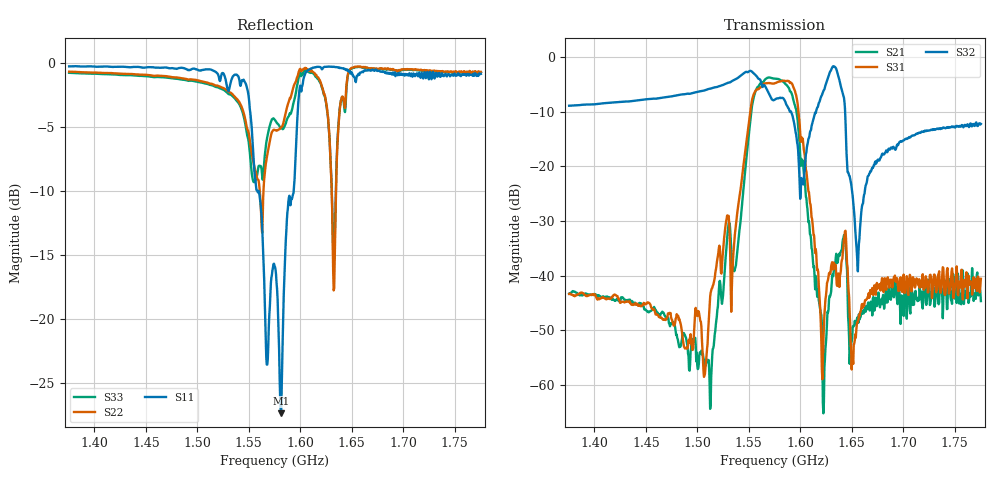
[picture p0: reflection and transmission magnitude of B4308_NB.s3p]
! Matrix data file written by TouchstoneData, EPCOS AG
! FILENAME: "newformat_LY98B_3_P1011407_Pcb01_NB.s3p"
! COMMENT: "(LY98B_3_P1011407_Pcb01_NB.s3p) Epcos AG 9/1"
! INFO: nport=3, nfreq=801
! DATE: "Wed Oct 12 10:00:51 2011"
! USER: "WeiLong Lin"
! port | pin | signal
!  1  |  1  |  in
!  2  |  2  |  out
!  3  |  4  |  out
# MHZ S MA R 50
! freq  magS11 angS11  magS12 angS12  magS13 angS13  ...
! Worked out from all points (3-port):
!   801 points, 1.375 GHz to 1.775 GHz, reference 50 ohm
!   strongest paths, dB at 1.375 GHz, 1.475 GHz, 1.575 GHz, 1.675 GHz, 1.775 GHz:
!     S32: -8.9, -7.1, -7.7, -18.7, -12.2
!     S31: -43.4, -48.1, -4.7, -42.0, -40.6
!     S21: -43.3, -48.6, -3.9, -44.8, -44.7
!   lowest |S11| = -27.4 dB at 1.581 GHz (marker M1), VSWR 1.09, Z = 48.2 + j3.8 ohm
!   |S11| at or under -10 dB: 1.558 GHz to 1.594 GHz (35.5 MHz wide, 2.25 % of centre)
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1375.42  0.9665 -82.7  0.007154 39.6  0.006912 36.0
         0.006822 39.5  0.9215 -51.1  0.3619 37.7
         0.006795 35.8  0.3605 37.7  0.9123 -51.7
1512.42  0.9406 -118.6  0.0006296 58.7  0.006491 170.1
         0.000601 57.0  0.8276 -64.1  0.5183 23.5
         0.006393 170.2  0.517 23.5  0.8183 -65.0
1550.92  0.6599 112.4  0.2363 -132.7  0.2916 69.7
         0.2361 -132.7  0.5007 -82.6  0.7538 -6.8
         0.2907 69.7  0.7515 -6.8  0.4476 -84.0
1575.42  0.1596 -104.7  0.6383 4.1  0.5826 178.1
         0.6386 4.2  0.5449 -31.5  0.4124 -30.1
         0.5803 178.0  0.4111 -30.1  0.5968 -40.5
1581.42  0.04286 113.4  0.6149 -42.6  0.6072 129.5
         0.6149 -42.6  0.5597 -27.3  0.4257 -35.6
         0.6051 129.5  0.4242 -35.8  0.5567 -38.6
1599.92  0.8131 63.9  0.1261 121.2  0.2058 -61.8
         0.1263 121.1  0.9455 -34.3  0.05068 -47.0
         0.2051 -61.7  0.05055 -47.0  0.9165 -33.5
1623.42  0.9623 -28.3  0.001518 145.7  0.004451 27.2
         0.001441 144.8  0.7557 -67.9  0.5108 12.5
         0.004374 27.0  0.5094 12.4  0.7429 -67.7
1641.92  0.9503 -47.7  0.02317 30.4  0.01877 8.1
         0.02214 30.4  0.7249 -16.7  0.4481 -116.0
         0.0185 8.0  0.4468 -116.0  0.7114 -21.6
1655.42  0.8894 -51.4  0.004335 45.6  0.003807 38.3
         0.004142 45.0  0.9655 -30.4  0.01288 -54.9
         0.003758 38.4  0.01325 -54.8  0.9602 -32.4
1775.42  0.903 -73.7  0.006126 47.1  0.009517 34.8
         0.005843 47.2  0.9191 -51.5  0.2462 31.2
         0.009345 34.8  0.2454 31.1  0.9165 -52.4
